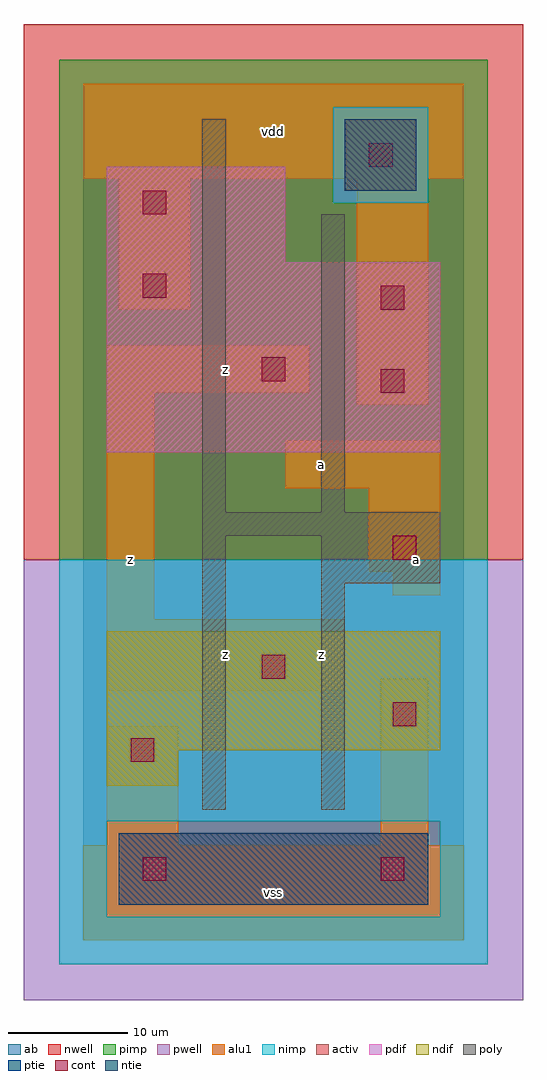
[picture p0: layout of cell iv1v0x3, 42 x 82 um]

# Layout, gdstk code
import gdstk
lib = gdstk.Library(unit=1e-6, precision=1e-09)
def R(c, l, rs):  # rectangles x0, y0, x1, y1
    for r in rs: c.add(gdstk.rectangle(r[:2], r[2:], *l))
ndif = (3, 0)
pdif = (4, 0)
ntie = (5, 0)
ptie = (6, 0)
cont = (25, 0)
pwell = (41, 0)
nwell = (42, 0)
activ = (43, 0)
pimp = (44, 0)
nimp = (45, 0)
poly = (46, 0)
alu1 = (49, 0)
ab = (63, 0)

iv1v0x3 = lib.new_cell('iv1v0x3')
R(iv1v0x3, ndif, [(2,13,8,16), (2,16,30,26)])
R(iv1v0x3, pdif, [(2,41,30,57), (2,57,17,65)])
R(iv1v0x3, ntie, [(22,63,28,69)])
R(iv1v0x3, ptie, [(3,3,29,9)])
R(iv1v0x3, cont, [(5,5,7,7), (25,5,27,7), (4,15,6,17), (26,18,28,20), (15,22,17,24), (26,32,28,34), (25,46,27,48), (15,47,17,49), (25,53,27,55), (5,54,7,56), (5,61,7,63), (24,65,26,67)])
R(iv1v0x3, pwell, [(-5,-5,37,32)])
R(iv1v0x3, nwell, [(-5,32,37,77)])
R(iv1v0x3, activ, [(3,3,29,9), (2,13,8,16), (2,16,30,26), (2,41,30,57), (2,57,17,65), (22,63,28,69)])
R(iv1v0x3, pimp, [(2,2,30,10), (-2,32,34,62), (-2,62,21,70), (29,62,34,70), (-2,70,34,74)])
R(iv1v0x3, nimp, [(-2,-2,34,2), (-2,2,2,10), (30,2,34,10), (-2,10,34,32), (21,62,29,70)])
R(iv1v0x3, poly, [(10,11,12,34), (20,11,22,30), (20,30,30,34), (10,34,30,36), (10,36,12,69), (20,36,22,61)])
R(iv1v0x3, alu1, [(0,0,32,8), (2,8,8,18), (25,8,29,22), (2,21,22,27), (2,27,6,46), (26,29,30,31), (24,31,30,38), (17,38,30,42), (23,45,29,64), (2,46,19,50), (3,53,9,64), (0,64,32,72)])
R(iv1v0x3, ab, [(0,0,32,72)])
iv1v0x3.add(gdstk.Label('z', (4,32), layer=49, texttype=0))
iv1v0x3.add(gdstk.Label('z', (12,24), layer=49, texttype=0))
iv1v0x3.add(gdstk.Label('z', (12,48), layer=49, texttype=0))
iv1v0x3.add(gdstk.Label('vss', (16,4), layer=49, texttype=0))
iv1v0x3.add(gdstk.Label('z', (20,24), layer=49, texttype=0))
iv1v0x3.add(gdstk.Label('a', (20,40), layer=49, texttype=0))
iv1v0x3.add(gdstk.Label('vdd', (16,68), layer=49, texttype=0))
iv1v0x3.add(gdstk.Label('a', (28,32), layer=49, texttype=0))

lib.write_gds('iv1v0x3.gds')
